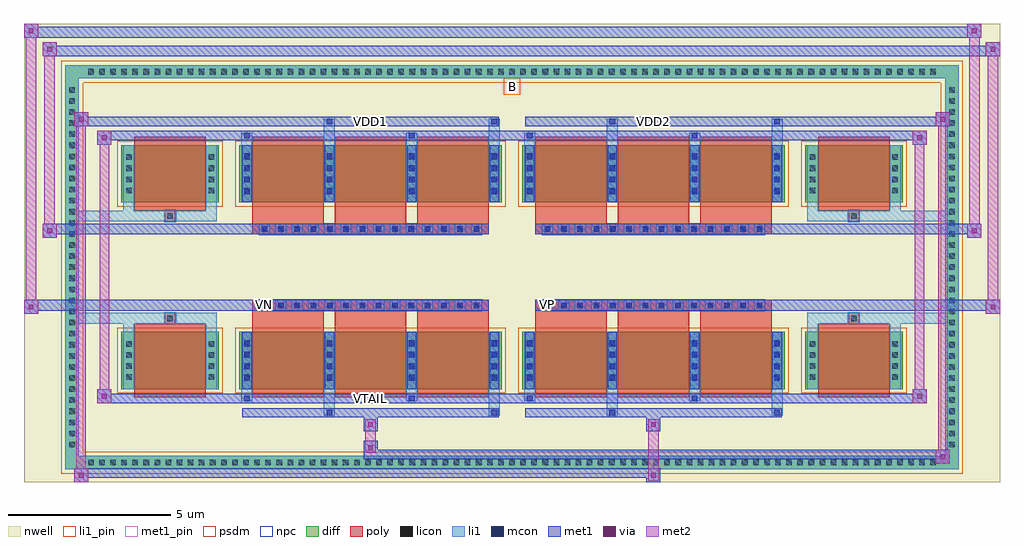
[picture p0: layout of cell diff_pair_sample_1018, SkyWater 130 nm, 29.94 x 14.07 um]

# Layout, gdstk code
import gdstk
lib = gdstk.Library(unit=1e-6, precision=5e-09)
def R(c, l, rs):  # rectangles x0, y0, x1, y1
    for r in rs: c.add(gdstk.rectangle(r[:2], r[2:], *l))
def A(c, l, x, y, w, h, nx, ny, dx, dy):  # array of equal rectangles
    R(c, l, [(x+i*dx, y+j*dy, x+i*dx+w, y+j*dy+h) for i in range(nx) for j in range(ny)])
def P(c, l, *ps):  # polygons
    for p in ps: c.add(gdstk.Polygon(p, *l))
nwell = (64, 20)
diff = (65, 20)
poly = (66, 20)
licon = (66, 44)
li1_pin = (67, 16)
li1 = (67, 20)
mcon = (67, 44)
met1_pin = (68, 16)
met1 = (68, 20)
via = (68, 44)
met2 = (69, 20)
psdm = (94, 20)
npc = (95, 20)

diff_pair_sample_1018 = lib.new_cell('diff_pair_sample_1018')
R(diff_pair_sample_1018, nwell, [(-14.97,-6.6,14.97,7.47), (-12.29,-4.79,-0.01,-0.805), (0.01,-4.79,12.29,-0.805), (-12.29,0.805,-0.01,4.79), (0.01,0.805,12.29,4.79)])
A(diff_pair_sample_1018, diff, -13.125, -6.2, 0.41, 0.41, 77, 2, 0.34, 11.99)
A(diff_pair_sample_1018, diff, -13.7, -5.645, 0.41, 0.41, 1, 33, 0, 0.34)
A(diff_pair_sample_1018, diff, 13.29, -5.645, 0.41, 0.41, 1, 33, 0, 0.34)
R(diff_pair_sample_1018, diff, [(-13.125,-6.2,13.125,-5.79), (-13.7,-5.645,-13.29,5.645), (13.29,-5.645,13.7,5.645), (-11.98,-3.745,-9,-1.985), (-8.36,-3.745,-0.32,-1.985), (0.32,-3.745,8.36,-1.985), (9,-3.745,11.98,-1.985), (-11.98,1.985,-9,3.745), (-8.36,1.985,-0.32,3.745), (0.32,1.985,8.36,3.745), (9,1.985,11.98,3.745), (-13.125,5.79,13.125,6.2)])
P(diff_pair_sample_1018, diff, [(13.7,6.2),(-13.7,6.2),(-13.7,-5.79),(-13.29,-5.79),(-13.29,5.79),(13.29,5.79),(13.29,-5.79),(-13.29,-5.79),(-13.7,-5.79),(-13.7,-6.2),(13.7,-6.2)])
A(diff_pair_sample_1018, poly, -7.97, -3.995, 2.2, 2.26, 3, 2, 2.53, 5.73)
A(diff_pair_sample_1018, poly, 0.71, -3.995, 2.2, 2.26, 3, 2, 2.53, 5.73)
A(diff_pair_sample_1018, poly, -7.97, -1.735, 2.2, 0.4, 3, 2, 2.53, 3.07)
A(diff_pair_sample_1018, poly, 0.71, -1.735, 2.2, 0.4, 3, 2, 2.53, 3.07)
A(diff_pair_sample_1018, poly, -7.755, -1.335, 0.33, 0.33, 14, 2, 0.5, 2.34)
A(diff_pair_sample_1018, poly, 0.925, -1.335, 0.33, 0.33, 14, 2, 0.5, 2.34)
R(diff_pair_sample_1018, poly, [(-11.59,-3.995,-9.39,-1.735), (9.39,-3.995,11.59,-1.735), (-10.655,-1.735,-10.325,-1.405), (-10.655,-1.735,-10.325,-1.405), (10.325,-1.735,10.655,-1.405), (10.325,-1.735,10.655,-1.405), (-7.97,-1.335,-0.71,-1.005), (0.71,-1.335,7.97,-1.005), (-7.97,1.005,-0.71,1.335), (0.71,1.005,7.97,1.335), (-10.655,1.405,-10.325,1.735), (-10.655,1.405,-10.325,1.735), (10.325,1.405,10.655,1.735), (10.325,1.405,10.655,1.735), (-11.59,1.735,-9.39,3.995), (9.39,1.735,11.59,3.995)])
A(diff_pair_sample_1018, licon, -13.005, -6.08, 0.17, 0.17, 77, 2, 0.34, 11.99)
A(diff_pair_sample_1018, licon, -13.58, -5.525, 0.17, 0.17, 1, 33, 0, 0.34)
A(diff_pair_sample_1018, licon, 13.41, -5.525, 0.17, 0.17, 1, 33, 0, 0.34)
A(diff_pair_sample_1018, licon, -11.84, -3.46, 0.17, 0.17, 1, 4, 0, 0.34)
A(diff_pair_sample_1018, licon, -9.31, -3.46, 0.17, 0.17, 1, 4, 0, 0.34)
A(diff_pair_sample_1018, licon, -8.22, -3.46, 0.17, 0.17, 4, 4, 2.53, 0.34)
A(diff_pair_sample_1018, licon, 0.46, -3.46, 0.17, 0.17, 4, 4, 2.53, 0.34)
A(diff_pair_sample_1018, licon, 9.14, -3.46, 0.17, 0.17, 1, 4, 0, 0.34)
A(diff_pair_sample_1018, licon, 11.67, -3.46, 0.17, 0.17, 1, 4, 0, 0.34)
A(diff_pair_sample_1018, licon, -7.675, -1.255, 0.17, 0.17, 14, 2, 0.5, 2.34)
A(diff_pair_sample_1018, licon, 1.005, -1.255, 0.17, 0.17, 14, 2, 0.5, 2.34)
A(diff_pair_sample_1018, licon, -11.84, 2.27, 0.17, 0.17, 1, 4, 0, 0.34)
A(diff_pair_sample_1018, licon, -9.31, 2.27, 0.17, 0.17, 1, 4, 0, 0.34)
A(diff_pair_sample_1018, licon, -8.22, 2.27, 0.17, 0.17, 4, 4, 2.53, 0.34)
A(diff_pair_sample_1018, licon, 0.46, 2.27, 0.17, 0.17, 4, 4, 2.53, 0.34)
A(diff_pair_sample_1018, licon, 9.14, 2.27, 0.17, 0.17, 1, 4, 0, 0.34)
A(diff_pair_sample_1018, licon, 11.67, 2.27, 0.17, 0.17, 1, 4, 0, 0.34)
R(diff_pair_sample_1018, licon, [(-10.575,-1.655,-10.405,-1.485), (10.405,-1.655,10.575,-1.485), (-10.575,1.485,-10.405,1.655), (10.405,1.485,10.575,1.655)])
R(diff_pair_sample_1018, li1_pin, [(-0.25,5.29,0.25,5.79)])
A(diff_pair_sample_1018, li1, -13.085, -6.16, 0.33, 0.33, 77, 2, 0.34, 11.99)
A(diff_pair_sample_1018, li1, -13.66, -5.605, 0.33, 0.33, 1, 33, 0, 0.34)
A(diff_pair_sample_1018, li1, 13.33, -5.605, 0.33, 0.33, 1, 33, 0, 0.34)
A(diff_pair_sample_1018, li1, -8.3, -3.745, 0.33, 1.76, 4, 2, 2.53, 5.73)
A(diff_pair_sample_1018, li1, 0.38, -3.745, 0.33, 1.76, 4, 2, 2.53, 5.73)
A(diff_pair_sample_1018, li1, -11.92, -3.54, 0.33, 0.33, 1, 4, 0, 0.34)
A(diff_pair_sample_1018, li1, -9.39, -3.54, 0.33, 0.33, 1, 4, 0, 0.34)
A(diff_pair_sample_1018, li1, -8.3, -3.54, 0.33, 0.33, 4, 4, 2.53, 0.34)
A(diff_pair_sample_1018, li1, 0.38, -3.54, 0.33, 0.33, 4, 4, 2.53, 0.34)
A(diff_pair_sample_1018, li1, 9.06, -3.54, 0.33, 0.33, 1, 4, 0, 0.34)
A(diff_pair_sample_1018, li1, 11.59, -3.54, 0.33, 0.33, 1, 4, 0, 0.34)
A(diff_pair_sample_1018, li1, -8.22, -3.49, 0.17, 0.17, 4, 4, 2.53, 0.36)
A(diff_pair_sample_1018, li1, -8.22, -3.49, 0.17, 1.25, 4, 2, 2.53, 5.73)
A(diff_pair_sample_1018, li1, 0.46, -3.49, 0.17, 0.17, 4, 4, 2.53, 0.36)
A(diff_pair_sample_1018, li1, 0.46, -3.49, 0.17, 1.25, 4, 2, 2.53, 5.73)
A(diff_pair_sample_1018, li1, -7.755, -1.335, 0.33, 0.33, 14, 2, 0.5, 2.34)
A(diff_pair_sample_1018, li1, 0.925, -1.335, 0.33, 0.33, 14, 2, 0.5, 2.34)
A(diff_pair_sample_1018, li1, -11.92, 2.19, 0.33, 0.33, 1, 4, 0, 0.34)
A(diff_pair_sample_1018, li1, -9.39, 2.19, 0.33, 0.33, 1, 4, 0, 0.34)
A(diff_pair_sample_1018, li1, -8.3, 2.19, 0.33, 0.33, 4, 4, 2.53, 0.34)
A(diff_pair_sample_1018, li1, 0.38, 2.19, 0.33, 0.33, 4, 4, 2.53, 0.34)
A(diff_pair_sample_1018, li1, 9.06, 2.19, 0.33, 0.33, 1, 4, 0, 0.34)
A(diff_pair_sample_1018, li1, 11.59, 2.19, 0.33, 0.33, 1, 4, 0, 0.34)
A(diff_pair_sample_1018, li1, -8.22, 2.24, 0.17, 0.17, 4, 4, 2.53, 0.36)
A(diff_pair_sample_1018, li1, 0.46, 2.24, 0.17, 0.17, 4, 4, 2.53, 0.36)
R(diff_pair_sample_1018, li1, [(-13.7,-6.2,-13.29,-5.79), (-13.7,-6.2,-13.29,-5.79), (-13.29,-6.2,13.29,-5.79), (13.29,-6.2,13.7,-5.79), (13.29,-6.2,13.7,-5.79), (-13.7,-5.79,-13.29,5.79), (13.29,-5.79,13.7,5.79), (-5.77,-4.55,-5.44,-3.745), (-5.69,-4.55,-5.52,-4.38), (-0.71,-4.55,-0.38,-3.745), (-0.63,-4.55,-0.46,-4.38), (2.91,-4.55,3.24,-3.745), (2.99,-4.55,3.16,-4.38), (7.97,-4.55,8.3,-3.745), (8.05,-4.55,8.22,-4.38), (-8.3,-4.12,-7.97,-3.745), (-8.22,-4.12,-8.05,-3.95), (-3.24,-4.12,-2.91,-3.745), (-3.16,-4.12,-2.99,-3.95), (0.38,-4.12,0.71,-3.745), (0.46,-4.12,0.63,-3.95), (5.44,-4.12,5.77,-3.745), (5.52,-4.12,5.69,-3.95), (-11.92,-3.745,-11.59,-1.985), (-9.39,-3.745,-9.06,-1.985), (9.06,-3.745,9.39,-1.985), (11.59,-3.745,11.92,-1.985), (-11.92,-1.985,-11.59,-1.405), (-9.39,-1.985,-9.06,-1.405), (9.06,-1.985,9.39,-1.405), (11.59,-1.985,11.92,-1.405), (-13.7,-1.735,-10.655,-1.405), (-11.92,-1.735,-10.655,-1.405), (-10.655,-1.735,-10.325,-1.405), (-10.325,-1.735,-9.06,-1.405), (9.06,-1.735,10.325,-1.405), (10.325,-1.735,10.655,-1.405), (10.325,-1.735,13.7,-1.405), (10.655,-1.735,11.92,-1.405), (-13.7,1.405,-10.655,1.735), (-11.92,1.405,-10.655,1.735), (-11.92,1.405,-11.59,1.985), (-10.655,1.405,-10.325,1.735), (-10.325,1.405,-9.06,1.735), (-9.39,1.405,-9.06,1.985), (9.06,1.405,10.325,1.735), (9.06,1.405,9.39,1.985), (10.325,1.405,10.655,1.735), (10.325,1.405,13.7,1.735), (10.655,1.405,11.92,1.735), (11.59,1.405,11.92,1.985), (-11.92,1.985,-11.59,3.745), (-9.39,1.985,-9.06,3.745), (9.06,1.985,9.39,3.745), (11.59,1.985,11.92,3.745), (-8.3,3.745,-7.97,4.12), (-5.77,3.745,-5.44,4.55), (-3.24,3.745,-2.91,4.12), (-0.71,3.745,-0.38,4.55), (0.38,3.745,0.71,4.12), (2.91,3.745,3.24,4.55), (5.44,3.745,5.77,4.12), (7.97,3.745,8.3,4.55), (-8.22,3.95,-8.05,4.12), (-3.16,3.95,-2.99,4.12), (0.46,3.95,0.63,4.12), (5.52,3.95,5.69,4.12), (-5.69,4.38,-5.52,4.55), (-0.63,4.38,-0.46,4.55), (2.99,4.38,3.16,4.55), (8.05,4.38,8.22,4.55), (-13.7,5.79,-13.29,6.2), (-13.7,5.79,-13.29,6.2), (-13.29,5.79,13.29,6.2), (13.29,5.79,13.7,6.2), (13.29,5.79,13.7,6.2)])
A(diff_pair_sample_1018, mcon, -8.22, -3.49, 0.17, 0.17, 4, 4, 2.53, 0.36)
A(diff_pair_sample_1018, mcon, 0.46, -3.49, 0.17, 0.17, 4, 4, 2.53, 0.36)
A(diff_pair_sample_1018, mcon, -7.675, -1.255, 0.17, 0.17, 14, 2, 0.5, 2.34)
A(diff_pair_sample_1018, mcon, 1.005, -1.255, 0.17, 0.17, 14, 2, 0.5, 2.34)
A(diff_pair_sample_1018, mcon, -8.22, 2.24, 0.17, 0.17, 4, 4, 2.53, 0.36)
A(diff_pair_sample_1018, mcon, 0.46, 2.24, 0.17, 0.17, 4, 4, 2.53, 0.36)
R(diff_pair_sample_1018, mcon, [(-5.69,-4.55,-5.52,-4.38), (-0.63,-4.55,-0.46,-4.38), (2.99,-4.55,3.16,-4.38), (8.05,-4.55,8.22,-4.38), (-8.22,-4.12,-8.05,-3.95), (-3.16,-4.12,-2.99,-3.95), (0.46,-4.12,0.63,-3.95), (5.52,-4.12,5.69,-3.95), (-8.22,3.95,-8.05,4.12), (-3.16,3.95,-2.99,4.12), (0.46,3.95,0.63,4.12), (5.52,3.95,5.69,4.12), (-5.69,4.38,-5.52,4.55), (-0.63,4.38,-0.46,4.55), (2.99,4.38,3.16,4.55), (8.05,4.38,8.22,4.55)])
R(diff_pair_sample_1018, met1_pin, [(-4.475,-4.16,-4.205,-3.89), (-7.725,-1.295,-7.455,-1.025), (0.955,-1.295,1.225,-1.025), (-4.475,4.34,-4.205,4.61), (4.205,4.34,4.475,4.61)])
A(diff_pair_sample_1018, met1, -8.28, -3.745, 0.29, 1.76, 4, 2, 2.53, 5.73)
A(diff_pair_sample_1018, met1, 0.4, -3.745, 0.29, 1.76, 4, 2, 2.53, 5.73)
A(diff_pair_sample_1018, met1, -8.28, -3.55, 0.29, 0.29, 4, 4, 2.53, 0.36)
A(diff_pair_sample_1018, met1, 0.4, -3.55, 0.29, 0.29, 4, 4, 2.53, 0.36)
A(diff_pair_sample_1018, met1, -7.735, -1.315, 0.29, 0.29, 14, 2, 0.5, 2.34)
A(diff_pair_sample_1018, met1, 0.945, -1.315, 0.29, 0.29, 14, 2, 0.5, 2.34)
A(diff_pair_sample_1018, met1, -8.28, 2.18, 0.29, 0.29, 4, 4, 2.53, 0.36)
A(diff_pair_sample_1018, met1, 0.4, 2.18, 0.29, 0.29, 4, 4, 2.53, 0.36)
R(diff_pair_sample_1018, met1, [(-13.43,-6.6,-13,-6.17), (4.125,-6.6,4.555,-6.17), (-13.43,-6.46,4.555,-6.17), (13,-6.03,13.43,-5.6), (-4.555,-5.89,13.43,-5.6), (-4.555,-5.75,-4.125,-5.32), (-4.555,-5.04,-4.125,-4.61), (4.125,-5.04,4.555,-4.61), (-8.28,-4.61,-0.4,-4.32), (-5.75,-4.61,-5.46,-4.32), (-0.69,-4.61,-0.4,-4.32), (0.4,-4.61,8.28,-4.32), (2.93,-4.61,3.22,-4.32), (7.99,-4.61,8.28,-4.32), (-12.72,-4.18,-12.29,-3.75), (-12.72,-4.18,-8.28,-3.89), (-8.28,-4.18,-7.99,-3.89), (-8.28,-4.18,-0.4,-3.89), (-3.22,-4.18,-2.93,-3.89), (-0.4,-4.18,0.4,-3.89), (0.4,-4.18,0.69,-3.89), (0.4,-4.18,8.28,-3.89), (5.46,-4.18,5.75,-3.89), (8.28,-4.18,12.72,-3.89), (12.29,-4.18,12.72,-3.75), (-14.97,-1.435,-14.54,-1.005), (14.54,-1.435,14.97,-1.005), (-14.97,-1.335,-0.71,-1.005), (-7.97,-1.335,-0.71,-1.005), (0.71,-1.335,7.97,-1.005), (0.71,-1.335,14.97,-1.005), (-14.4,0.905,-13.97,1.335), (13.97,0.905,14.4,1.335), (-14.4,1.005,-7.97,1.335), (-7.97,1.005,-0.71,1.335), (0.71,1.005,7.97,1.335), (7.97,1.005,14.4,1.335), (-12.72,3.75,-12.29,4.18), (12.29,3.75,12.72,4.18), (-12.72,3.89,-8.28,4.18), (-8.28,3.89,-7.99,4.18), (-8.28,3.89,-0.4,4.18), (-3.22,3.89,-2.93,4.18), (-0.4,3.89,0.4,4.18), (0.4,3.89,0.69,4.18), (0.4,3.89,8.28,4.18), (5.46,3.89,5.75,4.18), (8.28,3.89,12.72,4.18), (-13.43,4.32,-13,4.75), (-13.43,4.32,-8.28,4.61), (-8.28,4.32,-0.4,4.61), (-5.75,4.32,-5.46,4.61), (-0.69,4.32,-0.4,4.61), (0.4,4.32,8.28,4.61), (2.93,4.32,3.22,4.61), (7.99,4.32,8.28,4.61), (8.28,4.32,13.43,4.61), (13,4.32,13.43,4.75), (-14.4,6.47,-13.97,6.9), (-14.4,6.47,-12.29,6.8), (-12.29,6.47,12.29,6.8), (12.29,6.47,14.97,6.8), (14.54,6.47,14.97,6.9), (-14.97,7.04,-14.54,7.47), (-14.97,7.04,-12.29,7.37), (-12.29,7.04,12.29,7.37), (12.29,7.04,14.4,7.37), (13.97,7.04,14.4,7.47)])
R(diff_pair_sample_1018, via, [(-13.29,-6.46,-13.14,-6.31), (4.265,-6.46,4.415,-6.31), (13.14,-5.89,13.29,-5.74), (-4.415,-5.61,-4.265,-5.46), (-4.415,-4.9,-4.265,-4.75), (4.265,-4.9,4.415,-4.75), (-12.58,-4.04,-12.43,-3.89), (12.43,-4.04,12.58,-3.89), (-14.83,-1.295,-14.68,-1.145), (14.68,-1.295,14.83,-1.145), (-14.26,1.045,-14.11,1.195), (14.11,1.045,14.26,1.195), (-12.58,3.89,-12.43,4.04), (12.43,3.89,12.58,4.04), (-13.29,4.46,-13.14,4.61), (13.14,4.46,13.29,4.61), (-14.26,6.61,-14.11,6.76), (14.68,6.61,14.83,6.76), (-14.83,7.18,-14.68,7.33), (14.11,7.18,14.26,7.33)])
R(diff_pair_sample_1018, met2, [(-13.43,-6.6,-13,-6.17), (-13.36,-6.6,-13.07,4.75), (-13.07,-6.6,-13,-6.17), (-13.38,-6.55,-13.05,-6.22), (4.175,-6.55,4.505,-6.22), (4.175,-6.22,4.505,-4.99), (13,-6.03,13.43,-5.6), (13.07,-6.03,13.36,4.75), (13.36,-6.03,13.43,-5.6), (13.05,-5.98,13.38,-5.65), (-4.505,-5.7,-4.175,-5.37), (-4.505,-5.37,-4.175,-4.99), (-4.505,-4.99,-4.175,-4.66), (4.175,-4.99,4.505,-4.66), (-12.72,-4.18,-12.29,-3.75), (-12.65,-4.18,-12.36,4.18), (-12.36,-4.18,-12.29,-3.75), (12.29,-4.18,12.72,-3.75), (12.36,-4.18,12.65,4.18), (12.65,-4.18,12.72,-3.75), (-12.67,-4.13,-12.34,-3.8), (12.34,-4.13,12.67,-3.8), (-14.97,-1.435,-14.54,-1.005), (-14.92,-1.435,-14.59,7.47), (-14.59,-1.435,-14.54,-1.005), (14.54,-1.435,14.97,-1.005), (14.59,-1.435,14.92,6.9), (14.92,-1.435,14.97,-1.005), (-14.92,-1.385,-14.59,-1.055), (14.59,-1.385,14.92,-1.055), (-14.4,0.905,-13.97,1.335), (-14.35,0.905,-14.02,6.9), (-14.02,0.905,-13.97,1.335), (13.97,0.905,14.4,1.335), (14.02,0.905,14.35,7.47), (14.35,0.905,14.4,1.335), (-14.35,0.955,-14.02,1.285), (14.02,0.955,14.35,1.285), (-12.72,3.75,-12.29,4.18), (-12.36,3.75,-12.29,4.18), (12.29,3.75,12.72,4.18), (12.65,3.75,12.72,4.18), (-12.67,3.8,-12.34,4.13), (12.34,3.8,12.67,4.13), (-13.43,4.32,-13,4.75), (-13.07,4.32,-13,4.75), (13,4.32,13.43,4.75), (13.36,4.32,13.43,4.75), (-13.38,4.37,-13.05,4.7), (13.05,4.37,13.38,4.7), (-14.4,6.47,-13.97,6.9), (-14.02,6.47,-13.97,6.9), (14.54,6.47,14.97,6.9), (14.92,6.47,14.97,6.9), (-14.35,6.52,-14.02,6.85), (14.59,6.52,14.92,6.85), (-14.97,7.04,-14.54,7.47), (-14.59,7.04,-14.54,7.47), (13.97,7.04,14.4,7.47), (14.35,7.04,14.4,7.47), (-14.92,7.09,-14.59,7.42), (14.02,7.09,14.35,7.42)])
R(diff_pair_sample_1018, psdm, [(-12.11,-3.875,-8.87,-1.855), (-8.49,-3.875,-0.19,-1.855), (0.19,-3.875,8.49,-1.855), (8.87,-3.875,12.11,-1.855), (-12.11,1.855,-8.87,3.875), (-8.49,1.855,-0.19,3.875), (0.19,1.855,8.49,3.875), (8.87,1.855,12.11,3.875)])
P(diff_pair_sample_1018, psdm, [(13.83,6.33),(-13.83,6.33),(-13.83,-5.66),(-13.16,-5.66),(-13.16,5.66),(13.16,5.66),(13.16,-5.66),(-13.16,-5.66),(-13.83,-5.66),(-13.83,-6.33),(13.83,-6.33)])
A(diff_pair_sample_1018, npc, -7.775, -1.355, 0.37, 0.37, 14, 2, 0.5, 2.34)
A(diff_pair_sample_1018, npc, 0.905, -1.355, 0.37, 0.37, 14, 2, 0.5, 2.34)
R(diff_pair_sample_1018, npc, [(-10.675,-1.755,-10.305,-1.385), (10.305,-1.755,10.675,-1.385), (-7.775,-1.355,-6.905,-0.985), (-7.775,-1.355,-6.905,-0.985), (-7.275,-1.355,-6.405,-0.985), (-7.275,-1.355,-6.405,-0.985), (-6.775,-1.355,-5.905,-0.985), (-6.775,-1.355,-5.905,-0.985), (-6.275,-1.355,-5.405,-0.985), (-6.275,-1.355,-5.405,-0.985), (-5.775,-1.355,-4.905,-0.985), (-5.775,-1.355,-4.905,-0.985), (-5.275,-1.355,-4.405,-0.985), (-5.275,-1.355,-4.405,-0.985), (-4.775,-1.355,-3.905,-0.985), (-4.775,-1.355,-3.905,-0.985), (-4.275,-1.355,-3.405,-0.985), (-4.275,-1.355,-3.405,-0.985), (-3.775,-1.355,-2.905,-0.985), (-3.775,-1.355,-2.905,-0.985), (-3.275,-1.355,-2.405,-0.985), (-3.275,-1.355,-2.405,-0.985), (-2.775,-1.355,-1.905,-0.985), (-2.775,-1.355,-1.905,-0.985), (-2.275,-1.355,-1.405,-0.985), (-2.275,-1.355,-1.405,-0.985), (-1.775,-1.355,-0.905,-0.985), (-1.775,-1.355,-0.905,-0.985), (0.905,-1.355,1.775,-0.985), (0.905,-1.355,1.775,-0.985), (1.405,-1.355,2.275,-0.985), (1.405,-1.355,2.275,-0.985), (1.905,-1.355,2.775,-0.985), (1.905,-1.355,2.775,-0.985), (2.405,-1.355,3.275,-0.985), (2.405,-1.355,3.275,-0.985), (2.905,-1.355,3.775,-0.985), (2.905,-1.355,3.775,-0.985), (3.405,-1.355,4.275,-0.985), (3.405,-1.355,4.275,-0.985), (3.905,-1.355,4.775,-0.985), (3.905,-1.355,4.775,-0.985), (4.405,-1.355,5.275,-0.985), (4.405,-1.355,5.275,-0.985), (4.905,-1.355,5.775,-0.985), (4.905,-1.355,5.775,-0.985), (5.405,-1.355,6.275,-0.985), (5.405,-1.355,6.275,-0.985), (5.905,-1.355,6.775,-0.985), (5.905,-1.355,6.775,-0.985), (6.405,-1.355,7.275,-0.985), (6.405,-1.355,7.275,-0.985), (6.905,-1.355,7.775,-0.985), (6.905,-1.355,7.775,-0.985), (-7.775,0.985,-6.905,1.355), (-7.775,0.985,-6.905,1.355), (-7.275,0.985,-6.405,1.355), (-7.275,0.985,-6.405,1.355), (-6.775,0.985,-5.905,1.355), (-6.775,0.985,-5.905,1.355), (-6.275,0.985,-5.405,1.355), (-6.275,0.985,-5.405,1.355), (-5.775,0.985,-4.905,1.355), (-5.775,0.985,-4.905,1.355), (-5.275,0.985,-4.405,1.355), (-5.275,0.985,-4.405,1.355), (-4.775,0.985,-3.905,1.355), (-4.775,0.985,-3.905,1.355), (-4.275,0.985,-3.405,1.355), (-4.275,0.985,-3.405,1.355), (-3.775,0.985,-2.905,1.355), (-3.775,0.985,-2.905,1.355), (-3.275,0.985,-2.405,1.355), (-3.275,0.985,-2.405,1.355), (-2.775,0.985,-1.905,1.355), (-2.775,0.985,-1.905,1.355), (-2.275,0.985,-1.405,1.355), (-2.275,0.985,-1.405,1.355), (-1.775,0.985,-0.905,1.355), (-1.775,0.985,-0.905,1.355), (0.905,0.985,1.775,1.355), (0.905,0.985,1.775,1.355), (1.405,0.985,2.275,1.355), (1.405,0.985,2.275,1.355), (1.905,0.985,2.775,1.355), (1.905,0.985,2.775,1.355), (2.405,0.985,3.275,1.355), (2.405,0.985,3.275,1.355), (2.905,0.985,3.775,1.355), (2.905,0.985,3.775,1.355), (3.405,0.985,4.275,1.355), (3.405,0.985,4.275,1.355), (3.905,0.985,4.775,1.355), (3.905,0.985,4.775,1.355), (4.405,0.985,5.275,1.355), (4.405,0.985,5.275,1.355), (4.905,0.985,5.775,1.355), (4.905,0.985,5.775,1.355), (5.405,0.985,6.275,1.355), (5.405,0.985,6.275,1.355), (5.905,0.985,6.775,1.355), (5.905,0.985,6.775,1.355), (6.405,0.985,7.275,1.355), (6.405,0.985,7.275,1.355), (6.905,0.985,7.775,1.355), (6.905,0.985,7.775,1.355), (-10.675,1.385,-10.305,1.755), (10.305,1.385,10.675,1.755)])
diff_pair_sample_1018.add(gdstk.Label('VTAIL', (-4.34,-4.025), layer=68, texttype=5))
diff_pair_sample_1018.add(gdstk.Label('VN', (-7.59,-1.16), layer=68, texttype=5))
diff_pair_sample_1018.add(gdstk.Label('VP', (1.09,-1.16), layer=68, texttype=5))
diff_pair_sample_1018.add(gdstk.Label('B', (0,5.54), layer=67, texttype=5))
diff_pair_sample_1018.add(gdstk.Label('VDD2', (4.34,4.475), layer=68, texttype=5))
diff_pair_sample_1018.add(gdstk.Label('VDD1', (-4.34,4.475), layer=68, texttype=5))

lib.write_gds('diff_pair_sample_1018.gds')
